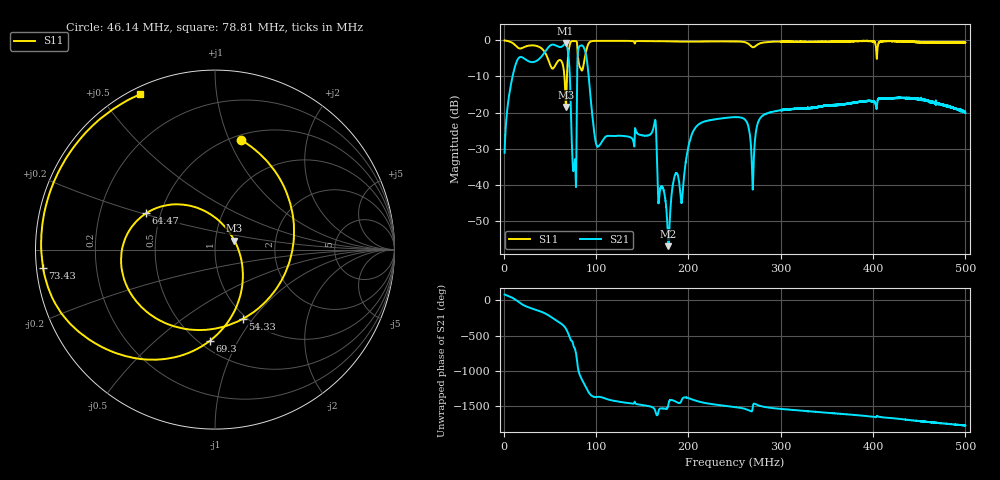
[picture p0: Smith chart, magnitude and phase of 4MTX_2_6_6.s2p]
! NanoVNA-App
! Date: 2026-08-18 21:18:07
! Start: 1MHz Stop: 500MHz Points: 6401
! S-Parameter data: F S11 S21 S12 S22
# Hz S RI R 50
!  Frequency  S11_Real  S11_Imag  S21_Real  S21_Imag  S12_Real  S12_Imag  S22_Real  S22_Imag
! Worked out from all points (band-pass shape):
!   6401 points, 1 MHz to 500 MHz, reference 50 ohm
!   highest |S21| = -0.90 dB at 67.04 MHz (marker M1); lowest = -56.8 dB at 178.5 MHz (marker M2)
!   |S21| within 3 dB of the highest: 42.85 MHz to 69.92 MHz (27.06 MHz wide, 48 % of centre); 80.16 MHz to 89.05 MHz (8.888 MHz wide, 10.5 % of centre)
!   lowest |S11| = -18.5 dB at 67.43 MHz (marker M3), VSWR 1.27, Z = 61.8 + j6.29 ohm
!   |S11| at or under -10 dB: 65.77 MHz to 68.53 MHz (2.763 MHz wide, 4.12 % of centre)
!   S12 and S22 are empty: the file has one direction only
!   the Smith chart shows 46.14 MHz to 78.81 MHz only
!   S11 on the Smith chart (normalised r, x): 46.14 MHz: 0.55, +1.11; 54.33 MHz: 0.96, -0.90; 64.47 MHz: 0.41, +0.21; 69.3 MHz: 0.57, -0.77; 73.43 MHz: 0.02, -0.05; 78.81 MHz: 0.03, +0.63
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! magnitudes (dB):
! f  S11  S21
! 1 MHz  -0.1  -31.1
! 14.49 MHz  -1.9  -5.6
! 46.14 MHz  -4.0  -2.7
! 54.33 MHz  -7.6  -1.3
! 64.47 MHz  -7.3  -1.5
! 67.04 MHz  -16.9  -0.9
! 67.43 MHz  -18.5  -0.9
! 69.3 MHz  -5.9  -2.6
! 73.43 MHz  -0.3  -25.6
! 76.4 MHz  -0.2  -35.1
! 78.81 MHz  -0.4  -30.1
! 84.19 MHz  -8.3  -1.5
! 101.3 MHz  -0.2  -29.3
! 162.7 MHz  -0.3  -23.6
! 167.4 MHz  -0.3  -44.5
! 178.5 MHz  -0.3  -56.8
! 206.6 MHz  -0.4  -24.5
! 250.5 MHz  -0.4  -21.2
! 269.8 MHz  -2.0  -41.2
! 333.7 MHz  -0.5  -18.6
! 416.9 MHz  -0.3  -16.2
! 500 MHz  -0.7  -20.0
